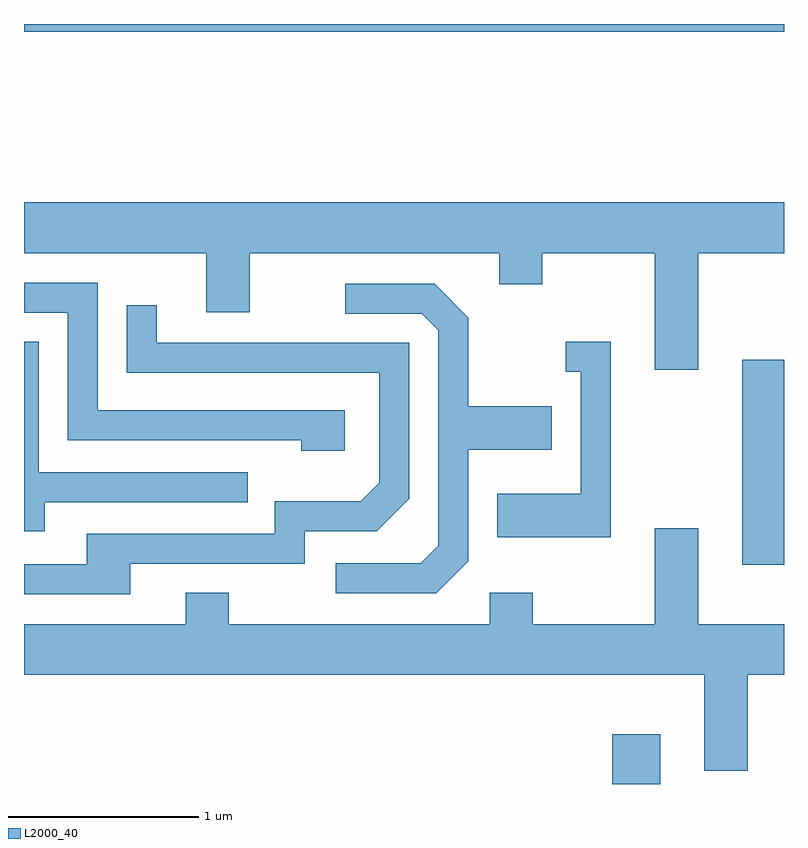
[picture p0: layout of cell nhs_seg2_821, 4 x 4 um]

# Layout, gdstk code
import gdstk
lib = gdstk.Library(unit=1e-6, precision=1e-09)
def R(c, l, rs):  # rectangles x0, y0, x1, y1
    for r in rs: c.add(gdstk.rectangle(r[:2], r[2:], *l))
def P(c, l, *ps):  # polygons
    for p in ps: c.add(gdstk.Polygon(p, *l))
L2000_40 = (2000, 40)

nhs_seg2_821 = lib.new_cell('nhs_seg2_821')
R(nhs_seg2_821, L2000_40, [(212.706,987.802,212.959,988.064), (213.391,988.956,213.611,990.034), (209.611,991.761,213.611,991.802)])
P(nhs_seg2_821, L2000_40, [(213.159,990.596),(213.611,990.596),(213.611,990.864),(209.611,990.864),(209.611,990.596),(210.571,990.596),(210.571,990.286),(210.799,990.286),(210.799,990.596),(212.111,990.596),(212.111,990.431),(212.339,990.431),(212.339,990.596),(212.931,990.596),(212.931,989.981),(213.159,989.981)],
  [(211.299,989.769),(209.999,989.769),(209.999,990.439),(209.611,990.439),(209.611,990.281),(209.841,990.281),(209.841,989.611),(211.071,989.611),(211.071,989.556),(211.299,989.556)],
  [(211.949,988.974),(211.949,989.561),(212.389,989.561),(212.389,989.789),(211.949,989.789),(211.949,990.257),(211.772,990.434),(211.303,990.434),(211.303,990.276),(211.704,990.276),(211.791,990.189),(211.791,989.057),(211.699,988.964),(211.253,988.964),(211.253,988.806),(211.782,988.806)],
  [(210.169,988.961),(211.089,988.961),(211.089,989.131),(211.467,989.131),(211.639,989.304),(211.639,990.124),(210.309,990.124),(210.309,990.323),(210.151,990.323),(210.151,989.966),(211.481,989.966),(211.481,989.387),(211.384,989.289),(210.931,989.289),(210.931,989.119),(209.941,989.119),(209.941,988.959),(209.611,988.959),(209.611,988.801),(210.169,988.801)],
  [(212.699,990.129),(212.463,990.129),(212.463,989.971),(212.541,989.971),(212.541,989.329),(212.101,989.329),(212.101,989.101),(212.699,989.101)],
  [(209.719,989.286),(210.788,989.286),(210.788,989.444),(209.689,989.444),(209.689,990.129),(209.611,990.129),(209.611,989.131),(209.719,989.131)],
  [(213.419,988.376),(213.611,988.376),(213.611,988.644),(213.159,988.644),(213.159,989.149),(212.931,989.149),(212.931,988.644),(212.289,988.644),(212.289,988.809),(212.061,988.809),(212.061,988.644),(210.689,988.644),(210.689,988.809),(210.461,988.809),(210.461,988.644),(209.611,988.644),(209.611,988.376),(213.191,988.376),(213.191,987.871),(213.419,987.871)])

lib.write_gds('nhs_seg2_821.gds')
